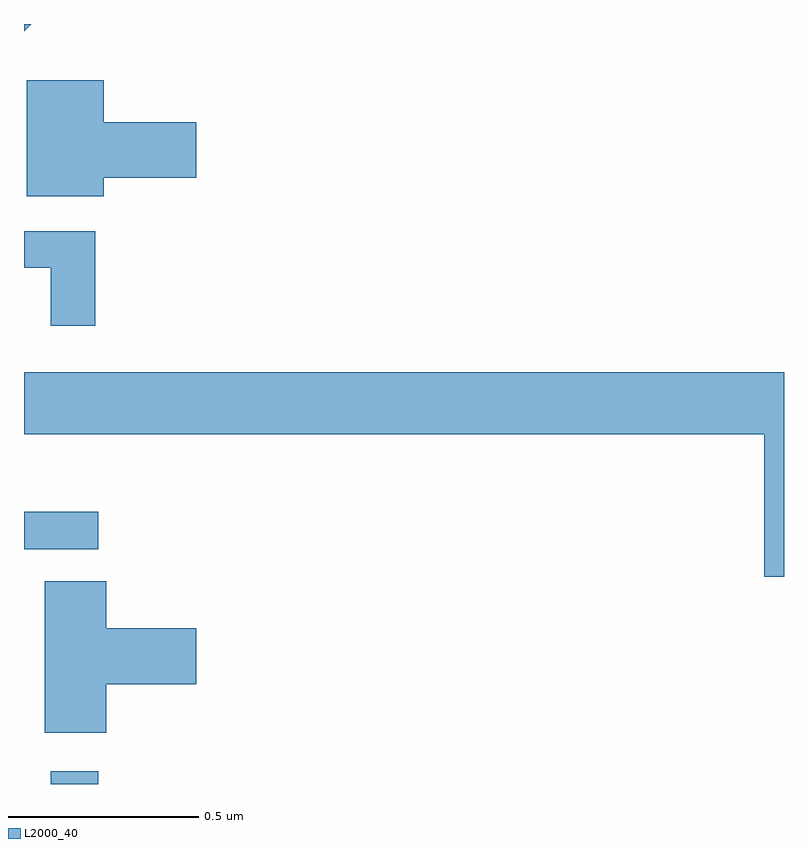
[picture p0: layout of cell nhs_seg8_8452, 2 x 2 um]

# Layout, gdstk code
import gdstk
lib = gdstk.Library(unit=1e-6, precision=1e-09)
def R(c, l, rs):  # rectangles x0, y0, x1, y1
    for r in rs: c.add(gdstk.rectangle(r[:2], r[2:], *l))
def P(c, l, *ps):  # polygons
    for p in ps: c.add(gdstk.Polygon(p, *l))
L2000_40 = (2000, 40)

nhs_seg8_8452 = lib.new_cell('nhs_seg8_8452')
R(nhs_seg8_8452, L2000_40, [(223.07,1128.9,223.196,1128.934), (223,1129.518,223.195,1129.616)])
P(nhs_seg8_8452, L2000_40, [(223.019,1130.9),(223,1130.9),(223,1130.881)],
  [(223.21,1130.495),(223.453,1130.495),(223.453,1130.642),(223.21,1130.642),(223.21,1130.752),(223.007,1130.752),(223.007,1130.447),(223.21,1130.447)],
  [(223.187,1130.355),(223,1130.355),(223,1130.259),(223.07,1130.259),(223.07,1130.106),(223.187,1130.106)],
  [(225,1129.984),(223,1129.984),(223,1129.82),(224.948,1129.82),(224.948,1129.446),(225,1129.446)],
  [(223.217,1129.163),(223.453,1129.163),(223.453,1129.31),(223.217,1129.31),(223.217,1129.433),(223.055,1129.433),(223.055,1129.035),(223.217,1129.035)])

lib.write_gds('nhs_seg8_8452.gds')
